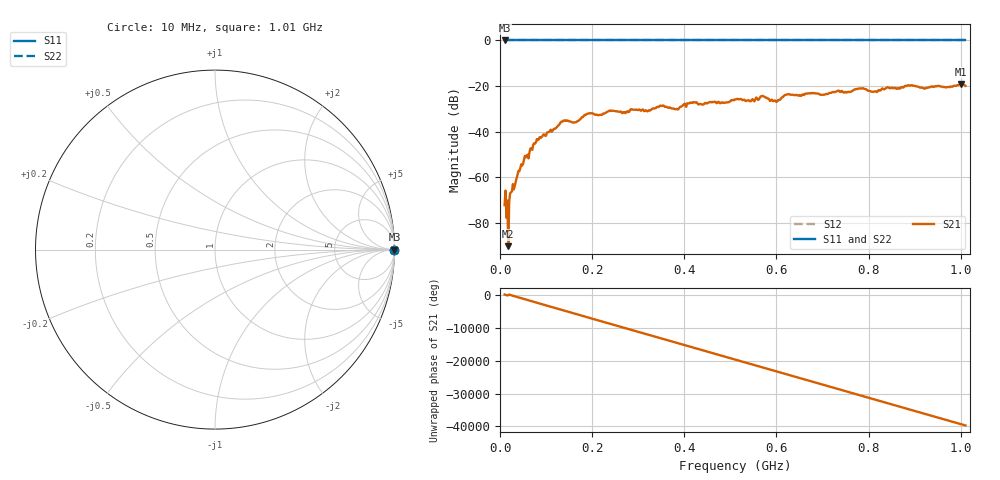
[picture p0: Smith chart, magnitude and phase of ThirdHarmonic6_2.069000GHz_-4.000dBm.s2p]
! 8/17/2025 12:46:58 AM
! C:\ANRITSUVNA\TEMP\TEMP.S2P
! CHANNEL.1
! TR.MEASUREMENT
! RAW.DATA
! RF.CORRECTION.OFF
! AVERAGING.OFF
! IF.BANDWIDTH: 5KHZ
! SWEEPTYPE:  FREQ.SWEEP(Linear)
! Reference Plane Port Info
! PORT:  PORT1  PORT2
! DISTANCE:  0  m  0  m
! TIME:  0  s  0  s
! PHASE.OFFSET:  0  deg.  0  deg.
! LOSS:  0  dB  0  dB
! REF.LOSS:  0  dB  0  dB
! REF.FREQ:  0  Hz  0  Hz
! Power Info
! POWER:  -20  dBm  -20  dBm
! EFF.POWER:  -20  dBm  -20  dBm
! SOURCE.ATTEN:  0  dB  0  dB
! TEST.ATTEN:  0  dB  0  dB
# GHZ S RI R 50.0
! FREQ.GHZ  S11RE  S11IM  S21RE  S21IM  S12RE  S12IM  S22RE  S22IM
!; PortSelection: Port_12
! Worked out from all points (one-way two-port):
!   501 points, 10 MHz to 1.01 GHz, reference 50 ohm
!   highest |S21| = -19.17 dB at 1 GHz (marker M1); lowest = -90.4 dB at 18 MHz (marker M2)
!   lowest |S11| = 0.0 dB at 10 MHz (marker M3)
!   |S11| at or under -10 dB: nowhere
!   |S22| runs from 0.0 to 0.0 dB; largest |S21 - S12| = 1.1
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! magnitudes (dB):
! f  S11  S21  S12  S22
! 10 MHz  0.0  -72.3  0.0  0.0
! 18 MHz  0.0  -90.4  0.0  0.0
! 24 MHz  0.0  -66.7  0.0  0.0
! 42 MHz  0.0  -57.4  0.0  0.0
! 76 MHz  0.0  -45.3  0.0  0.0
! 136 MHz  0.0  -35.6  0.0  0.0
! 162 MHz  0.0  -35.9  0.0  0.0
! 178 MHz  0.0  -33.7  0.0  0.0
! 194 MHz  0.0  -32.1  0.0  0.0
! 322 MHz  0.0  -30.9  0.0  0.0
! 344 MHz  0.0  -29.3  0.0  0.0
! 384 MHz  0.0  -30.1  0.0  0.0
! 416 MHz  0.0  -27.4  0.0  0.0
! 510 MHz  0.0  -25.9  0.0  0.0
! 548 MHz  0.0  -25.8  0.0  0.0
! 570 MHz  0.0  -24.3  0.0  0.0
! 598 MHz  0.0  -26.5  0.0  0.0
! 622 MHz  0.0  -23.8  0.0  0.0
! 678 MHz  0.0  -23.1  0.0  0.0
! 844 MHz  0.0  -20.8  0.0  0.0
! 1 GHz  0.0  -19.2  0.0  0.0
! 1.01 GHz  0.0  -19.9  0.0  0.0
